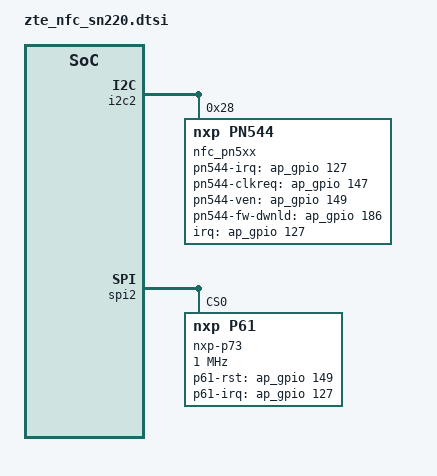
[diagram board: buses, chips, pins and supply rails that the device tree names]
&i2c2 {
        status = "okay";
        #address-cells = <1>;
        #size-cells = <0>;
        nfc_pn5xx: pn544@28 {
                compatible = "nxp,pn544";
                reg = <0x28>;
                interrupt-parent = <&ap_gpio>;
                interrupts = <127 0>;
                nxp,pn544-irq = <&ap_gpio 127 0>;
                nxp,pn544-clkreq = <&ap_gpio 147 0>;
                nxp,pn544-ven = <&ap_gpio 149 0>;
                nxp,pn544-fw-dwnld = <&ap_gpio 186 0>;
                interrupt-names = "nfc_int";
                clock-names = "bb_clk","source","enable";
                clocks = <&aonapb_gate CLK_AUX1>, <&pmu_gate CLK_26M_AUD>, <&aonapb_gate CLK_AUX1_EB>;
        };
};

&spi2 {
        status = "ok";
        nxp-p73@0 {
                compatible = "nxp,p61";
                reg = <0>;
                spi-max-frequency = <1000000>;
                /* gpio used as SE_PWR_REQ or SE_nRESET */
                nxp,p61-rst = <&ap_gpio 149 0>;
                nxp,p61-irq = <&ap_gpio 127 0>;
                status = "ok";
        };
};
